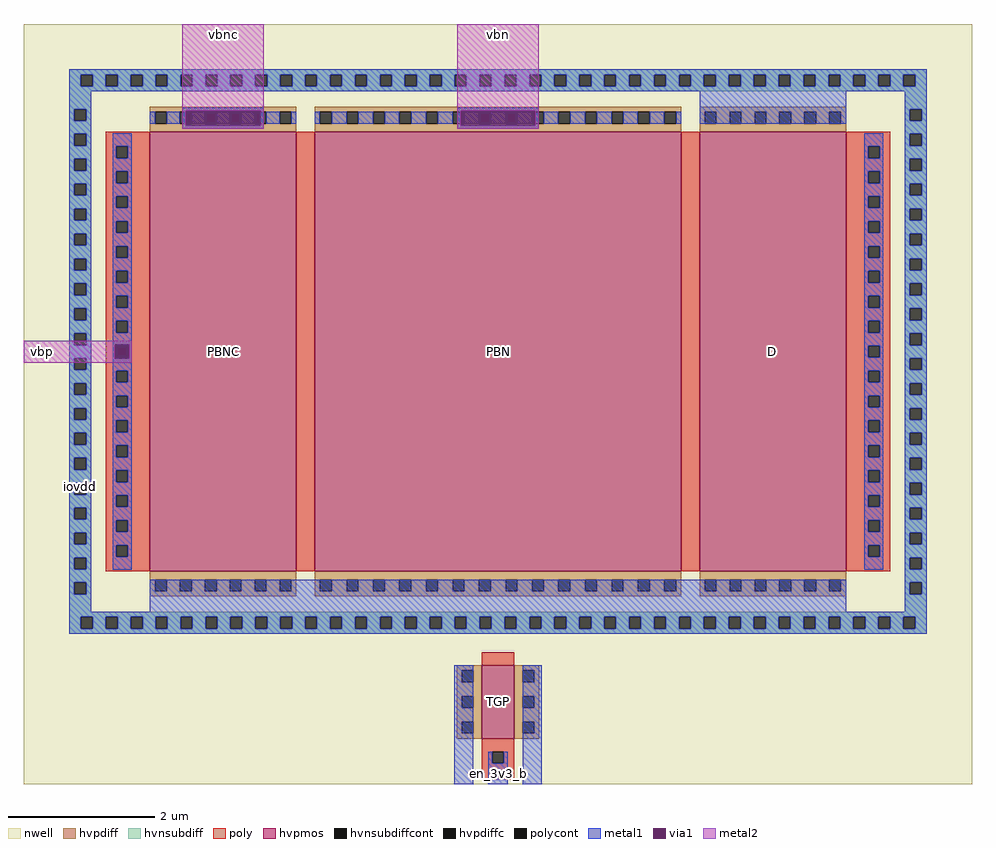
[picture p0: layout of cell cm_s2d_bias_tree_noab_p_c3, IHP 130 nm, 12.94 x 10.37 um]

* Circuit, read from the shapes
.subckt cm_s2d_bias_tree_noab_p_c3 iovdd en_3v3_b iref ni vbnc vbn vbp
XM1 vbnc vbp iovdd iovdd sg13_hv_pmos w=2u l=6u
XM2 vbn vbp iovdd iovdd sg13_hv_pmos w=5u l=6u
XM3 ni en_3v3_b iref iovdd sg13_hv_pmos w=1u l=0.45u
XM4 iovdd vbp iovdd iovdd sg13_hv_pmos w=2u l=6u
.ends

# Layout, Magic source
magic
tech ihp-sg13cmos5l
magscale 1 2
<< nwell >>
rect 0 0 2588 2074
<< hvnsubdiff >>
rect 124 1936 2464 1950
rect 124 1904 156 1936
rect 188 1904 224 1936
rect 256 1904 292 1936
rect 324 1904 360 1936
rect 392 1904 428 1936
rect 460 1904 496 1936
rect 528 1904 564 1936
rect 596 1904 632 1936
rect 664 1904 700 1936
rect 732 1904 768 1936
rect 800 1904 836 1936
rect 868 1904 904 1936
rect 936 1904 972 1936
rect 1004 1904 1040 1936
rect 1072 1904 1108 1936
rect 1140 1904 1176 1936
rect 1208 1904 1244 1936
rect 1276 1904 1312 1936
rect 1344 1904 1380 1936
rect 1412 1904 1448 1936
rect 1480 1904 1516 1936
rect 1548 1904 1584 1936
rect 1616 1904 1652 1936
rect 1684 1904 1720 1936
rect 1752 1904 1788 1936
rect 1820 1904 1856 1936
rect 1888 1904 1924 1936
rect 1956 1904 1992 1936
rect 2024 1904 2060 1936
rect 2092 1904 2128 1936
rect 2160 1904 2196 1936
rect 2228 1904 2264 1936
rect 2296 1904 2332 1936
rect 2364 1904 2400 1936
rect 2432 1904 2464 1936
rect 124 1890 2464 1904
rect 124 1842 184 1890
rect 124 1810 138 1842
rect 170 1810 184 1842
rect 124 1774 184 1810
rect 2404 1842 2464 1890
rect 2404 1810 2418 1842
rect 2450 1810 2464 1842
rect 124 1742 138 1774
rect 170 1742 184 1774
rect 124 1706 184 1742
rect 124 1674 138 1706
rect 170 1674 184 1706
rect 124 1638 184 1674
rect 124 1606 138 1638
rect 170 1606 184 1638
rect 124 1570 184 1606
rect 124 1538 138 1570
rect 170 1538 184 1570
rect 124 1502 184 1538
rect 124 1470 138 1502
rect 170 1470 184 1502
rect 124 1434 184 1470
rect 124 1402 138 1434
rect 170 1402 184 1434
rect 124 1366 184 1402
rect 124 1334 138 1366
rect 170 1334 184 1366
rect 124 1298 184 1334
rect 124 1266 138 1298
rect 170 1266 184 1298
rect 124 1230 184 1266
rect 124 1198 138 1230
rect 170 1198 184 1230
rect 124 1162 184 1198
rect 124 1130 138 1162
rect 170 1130 184 1162
rect 124 1094 184 1130
rect 124 1062 138 1094
rect 170 1062 184 1094
rect 124 1026 184 1062
rect 124 994 138 1026
rect 170 994 184 1026
rect 124 958 184 994
rect 124 926 138 958
rect 170 926 184 958
rect 124 890 184 926
rect 124 858 138 890
rect 170 858 184 890
rect 124 822 184 858
rect 124 790 138 822
rect 170 790 184 822
rect 124 754 184 790
rect 124 722 138 754
rect 170 722 184 754
rect 124 686 184 722
rect 124 654 138 686
rect 170 654 184 686
rect 124 618 184 654
rect 124 586 138 618
rect 170 586 184 618
rect 124 550 184 586
rect 2404 1774 2464 1810
rect 2404 1742 2418 1774
rect 2450 1742 2464 1774
rect 2404 1706 2464 1742
rect 2404 1674 2418 1706
rect 2450 1674 2464 1706
rect 2404 1638 2464 1674
rect 2404 1606 2418 1638
rect 2450 1606 2464 1638
rect 2404 1570 2464 1606
rect 2404 1538 2418 1570
rect 2450 1538 2464 1570
rect 2404 1502 2464 1538
rect 2404 1470 2418 1502
rect 2450 1470 2464 1502
rect 2404 1434 2464 1470
rect 2404 1402 2418 1434
rect 2450 1402 2464 1434
rect 2404 1366 2464 1402
rect 2404 1334 2418 1366
rect 2450 1334 2464 1366
rect 2404 1298 2464 1334
rect 2404 1266 2418 1298
rect 2450 1266 2464 1298
rect 2404 1230 2464 1266
rect 2404 1198 2418 1230
rect 2450 1198 2464 1230
rect 2404 1162 2464 1198
rect 2404 1130 2418 1162
rect 2450 1130 2464 1162
rect 2404 1094 2464 1130
rect 2404 1062 2418 1094
rect 2450 1062 2464 1094
rect 2404 1026 2464 1062
rect 2404 994 2418 1026
rect 2450 994 2464 1026
rect 2404 958 2464 994
rect 2404 926 2418 958
rect 2450 926 2464 958
rect 2404 890 2464 926
rect 2404 858 2418 890
rect 2450 858 2464 890
rect 2404 822 2464 858
rect 2404 790 2418 822
rect 2450 790 2464 822
rect 2404 754 2464 790
rect 2404 722 2418 754
rect 2450 722 2464 754
rect 2404 686 2464 722
rect 2404 654 2418 686
rect 2450 654 2464 686
rect 2404 618 2464 654
rect 2404 586 2418 618
rect 2450 586 2464 618
rect 124 518 138 550
rect 170 518 184 550
rect 124 470 184 518
rect 2404 550 2464 586
rect 2404 518 2418 550
rect 2450 518 2464 550
rect 2404 470 2464 518
rect 124 456 2464 470
rect 124 424 156 456
rect 188 424 224 456
rect 256 424 292 456
rect 324 424 360 456
rect 392 424 428 456
rect 460 424 496 456
rect 528 424 564 456
rect 596 424 632 456
rect 664 424 700 456
rect 732 424 768 456
rect 800 424 836 456
rect 868 424 904 456
rect 936 424 972 456
rect 1004 424 1040 456
rect 1072 424 1108 456
rect 1140 424 1176 456
rect 1208 424 1244 456
rect 1276 424 1312 456
rect 1344 424 1380 456
rect 1412 424 1448 456
rect 1480 424 1516 456
rect 1548 424 1584 456
rect 1616 424 1652 456
rect 1684 424 1720 456
rect 1752 424 1788 456
rect 1820 424 1856 456
rect 1888 424 1924 456
rect 1956 424 1992 456
rect 2024 424 2060 456
rect 2092 424 2128 456
rect 2160 424 2196 456
rect 2228 424 2264 456
rect 2296 424 2332 456
rect 2364 424 2400 456
rect 2432 424 2464 456
rect 124 410 2464 424
<< hvnsubdiffcont >>
rect 156 1904 188 1936
rect 224 1904 256 1936
rect 292 1904 324 1936
rect 360 1904 392 1936
rect 428 1904 460 1936
rect 496 1904 528 1936
rect 564 1904 596 1936
rect 632 1904 664 1936
rect 700 1904 732 1936
rect 768 1904 800 1936
rect 836 1904 868 1936
rect 904 1904 936 1936
rect 972 1904 1004 1936
rect 1040 1904 1072 1936
rect 1108 1904 1140 1936
rect 1176 1904 1208 1936
rect 1244 1904 1276 1936
rect 1312 1904 1344 1936
rect 1380 1904 1412 1936
rect 1448 1904 1480 1936
rect 1516 1904 1548 1936
rect 1584 1904 1616 1936
rect 1652 1904 1684 1936
rect 1720 1904 1752 1936
rect 1788 1904 1820 1936
rect 1856 1904 1888 1936
rect 1924 1904 1956 1936
rect 1992 1904 2024 1936
rect 2060 1904 2092 1936
rect 2128 1904 2160 1936
rect 2196 1904 2228 1936
rect 2264 1904 2296 1936
rect 2332 1904 2364 1936
rect 2400 1904 2432 1936
rect 138 1810 170 1842
rect 2418 1810 2450 1842
rect 138 1742 170 1774
rect 138 1674 170 1706
rect 138 1606 170 1638
rect 138 1538 170 1570
rect 138 1470 170 1502
rect 138 1402 170 1434
rect 138 1334 170 1366
rect 138 1266 170 1298
rect 138 1198 170 1230
rect 138 1130 170 1162
rect 138 1062 170 1094
rect 138 994 170 1026
rect 138 926 170 958
rect 138 858 170 890
rect 138 790 170 822
rect 138 722 170 754
rect 138 654 170 686
rect 138 586 170 618
rect 2418 1742 2450 1774
rect 2418 1674 2450 1706
rect 2418 1606 2450 1638
rect 2418 1538 2450 1570
rect 2418 1470 2450 1502
rect 2418 1402 2450 1434
rect 2418 1334 2450 1366
rect 2418 1266 2450 1298
rect 2418 1198 2450 1230
rect 2418 1130 2450 1162
rect 2418 1062 2450 1094
rect 2418 994 2450 1026
rect 2418 926 2450 958
rect 2418 858 2450 890
rect 2418 790 2450 822
rect 2418 722 2450 754
rect 2418 654 2450 686
rect 2418 586 2450 618
rect 138 518 170 550
rect 2418 518 2450 550
rect 156 424 188 456
rect 224 424 256 456
rect 292 424 324 456
rect 360 424 392 456
rect 428 424 460 456
rect 496 424 528 456
rect 564 424 596 456
rect 632 424 664 456
rect 700 424 732 456
rect 768 424 800 456
rect 836 424 868 456
rect 904 424 936 456
rect 972 424 1004 456
rect 1040 424 1072 456
rect 1108 424 1140 456
rect 1176 424 1208 456
rect 1244 424 1276 456
rect 1312 424 1344 456
rect 1380 424 1412 456
rect 1448 424 1480 456
rect 1516 424 1548 456
rect 1584 424 1616 456
rect 1652 424 1684 456
rect 1720 424 1752 456
rect 1788 424 1820 456
rect 1856 424 1888 456
rect 1924 424 1956 456
rect 1992 424 2024 456
rect 2060 424 2092 456
rect 2128 424 2160 456
rect 2196 424 2228 456
rect 2264 424 2296 456
rect 2332 424 2364 456
rect 2400 424 2432 456
<< poly >>
rect 224 1740 344 1780
rect 224 1708 252 1740
rect 284 1708 344 1740
rect 224 1672 344 1708
rect 224 1640 252 1672
rect 284 1640 344 1672
rect 224 1604 344 1640
rect 224 1572 252 1604
rect 284 1572 344 1604
rect 224 1536 344 1572
rect 224 1504 252 1536
rect 284 1504 344 1536
rect 224 1468 344 1504
rect 224 1436 252 1468
rect 284 1436 344 1468
rect 224 1400 344 1436
rect 224 1368 252 1400
rect 284 1368 344 1400
rect 224 1332 344 1368
rect 224 1300 252 1332
rect 284 1300 344 1332
rect 224 1264 344 1300
rect 224 1232 252 1264
rect 284 1232 344 1264
rect 224 1196 344 1232
rect 224 1164 252 1196
rect 284 1164 344 1196
rect 224 1128 344 1164
rect 224 1096 252 1128
rect 284 1096 344 1128
rect 224 1060 344 1096
rect 224 1028 252 1060
rect 284 1028 344 1060
rect 224 992 344 1028
rect 224 960 252 992
rect 284 960 344 992
rect 224 924 344 960
rect 224 892 252 924
rect 284 892 344 924
rect 224 856 344 892
rect 224 824 252 856
rect 284 824 344 856
rect 224 788 344 824
rect 224 756 252 788
rect 284 756 344 788
rect 224 720 344 756
rect 224 688 252 720
rect 284 688 344 720
rect 224 652 344 688
rect 224 620 252 652
rect 284 620 344 652
rect 224 580 344 620
rect 2244 1740 2364 1780
rect 2244 1708 2304 1740
rect 2336 1708 2364 1740
rect 2244 1672 2364 1708
rect 2244 1640 2304 1672
rect 2336 1640 2364 1672
rect 2244 1604 2364 1640
rect 2244 1572 2304 1604
rect 2336 1572 2364 1604
rect 2244 1536 2364 1572
rect 2244 1504 2304 1536
rect 2336 1504 2364 1536
rect 2244 1468 2364 1504
rect 2244 1436 2304 1468
rect 2336 1436 2364 1468
rect 2244 1400 2364 1436
rect 2244 1368 2304 1400
rect 2336 1368 2364 1400
rect 2244 1332 2364 1368
rect 2244 1300 2304 1332
rect 2336 1300 2364 1332
rect 2244 1264 2364 1300
rect 2244 1232 2304 1264
rect 2336 1232 2364 1264
rect 2244 1196 2364 1232
rect 2244 1164 2304 1196
rect 2336 1164 2364 1196
rect 2244 1128 2364 1164
rect 2244 1096 2304 1128
rect 2336 1096 2364 1128
rect 2244 1060 2364 1096
rect 2244 1028 2304 1060
rect 2336 1028 2364 1060
rect 2244 992 2364 1028
rect 2244 960 2304 992
rect 2336 960 2364 992
rect 2244 924 2364 960
rect 2244 892 2304 924
rect 2336 892 2364 924
rect 2244 856 2364 892
rect 2244 824 2304 856
rect 2336 824 2364 856
rect 2244 788 2364 824
rect 2244 756 2304 788
rect 2336 756 2364 788
rect 2244 720 2364 756
rect 2244 688 2304 720
rect 2336 688 2364 720
rect 2244 652 2364 688
rect 2244 620 2304 652
rect 2336 620 2364 652
rect 2244 580 2364 620
rect 1249 88 1339 124
rect 1249 56 1278 88
rect 1310 56 1339 88
rect 1249 12 1339 56
<< polycont >>
rect 252 1708 284 1740
rect 252 1640 284 1672
rect 252 1572 284 1604
rect 252 1504 284 1536
rect 252 1436 284 1468
rect 252 1368 284 1400
rect 252 1300 284 1332
rect 252 1232 284 1264
rect 252 1164 284 1196
rect 252 1096 284 1128
rect 252 1028 284 1060
rect 252 960 284 992
rect 252 892 284 924
rect 252 824 284 856
rect 252 756 284 788
rect 252 688 284 720
rect 252 620 284 652
rect 2304 1708 2336 1740
rect 2304 1640 2336 1672
rect 2304 1572 2336 1604
rect 2304 1504 2336 1536
rect 2304 1436 2336 1468
rect 2304 1368 2336 1400
rect 2304 1300 2336 1332
rect 2304 1232 2336 1264
rect 2304 1164 2336 1196
rect 2304 1096 2336 1128
rect 2304 1028 2336 1060
rect 2304 960 2336 992
rect 2304 892 2336 924
rect 2304 824 2336 856
rect 2304 756 2336 788
rect 2304 688 2336 720
rect 2304 620 2336 652
rect 1278 56 1310 88
<< metal1 >>
rect 124 1936 2464 1950
rect 124 1904 156 1936
rect 188 1904 224 1936
rect 256 1904 292 1936
rect 324 1904 360 1936
rect 392 1904 428 1936
rect 460 1904 496 1936
rect 528 1904 564 1936
rect 596 1904 632 1936
rect 664 1904 700 1936
rect 732 1904 768 1936
rect 800 1904 836 1936
rect 868 1904 904 1936
rect 936 1904 972 1936
rect 1004 1904 1040 1936
rect 1072 1904 1108 1936
rect 1140 1904 1176 1936
rect 1208 1904 1244 1936
rect 1276 1904 1312 1936
rect 1344 1904 1380 1936
rect 1412 1904 1448 1936
rect 1480 1904 1516 1936
rect 1548 1904 1584 1936
rect 1616 1904 1652 1936
rect 1684 1904 1720 1936
rect 1752 1904 1788 1936
rect 1820 1904 1856 1936
rect 1888 1904 1924 1936
rect 1956 1904 1992 1936
rect 2024 1904 2060 1936
rect 2092 1904 2128 1936
rect 2160 1904 2196 1936
rect 2228 1904 2264 1936
rect 2296 1904 2332 1936
rect 2364 1904 2400 1936
rect 2432 1904 2464 1936
rect 124 1890 2464 1904
rect 124 1842 184 1890
rect 124 1810 138 1842
rect 170 1810 184 1842
rect 124 1774 184 1810
rect 433 1837 655 1846
rect 433 1797 442 1837
rect 646 1797 655 1837
rect 433 1788 655 1797
rect 1183 1837 1405 1846
rect 1183 1797 1192 1837
rect 1396 1797 1405 1837
rect 1844 1802 2244 1890
rect 2404 1842 2464 1890
rect 2404 1810 2418 1842
rect 2450 1810 2464 1842
rect 1183 1788 1405 1797
rect 124 1742 138 1774
rect 170 1742 184 1774
rect 124 1706 184 1742
rect 124 1674 138 1706
rect 170 1674 184 1706
rect 124 1638 184 1674
rect 124 1606 138 1638
rect 170 1606 184 1638
rect 124 1570 184 1606
rect 124 1538 138 1570
rect 170 1538 184 1570
rect 124 1502 184 1538
rect 124 1470 138 1502
rect 170 1470 184 1502
rect 124 1434 184 1470
rect 124 1402 138 1434
rect 170 1402 184 1434
rect 124 1366 184 1402
rect 124 1334 138 1366
rect 170 1334 184 1366
rect 124 1298 184 1334
rect 124 1266 138 1298
rect 170 1266 184 1298
rect 124 1230 184 1266
rect 124 1198 138 1230
rect 170 1198 184 1230
rect 124 1162 184 1198
rect 124 1130 138 1162
rect 170 1130 184 1162
rect 124 1094 184 1130
rect 124 1062 138 1094
rect 170 1062 184 1094
rect 124 1026 184 1062
rect 124 994 138 1026
rect 170 994 184 1026
rect 124 958 184 994
rect 124 926 138 958
rect 170 926 184 958
rect 124 890 184 926
rect 124 858 138 890
rect 170 858 184 890
rect 124 822 184 858
rect 124 790 138 822
rect 170 790 184 822
rect 124 754 184 790
rect 124 722 138 754
rect 170 722 184 754
rect 124 686 184 722
rect 124 654 138 686
rect 170 654 184 686
rect 124 618 184 654
rect 124 586 138 618
rect 170 586 184 618
rect 124 550 184 586
rect 242 1740 294 1776
rect 242 1708 252 1740
rect 284 1708 294 1740
rect 242 1672 294 1708
rect 242 1640 252 1672
rect 284 1640 294 1672
rect 242 1604 294 1640
rect 242 1572 252 1604
rect 284 1572 294 1604
rect 242 1536 294 1572
rect 242 1504 252 1536
rect 284 1504 294 1536
rect 242 1468 294 1504
rect 242 1436 252 1468
rect 284 1436 294 1468
rect 242 1400 294 1436
rect 242 1368 252 1400
rect 284 1368 294 1400
rect 242 1332 294 1368
rect 242 1300 252 1332
rect 284 1300 294 1332
rect 242 1264 294 1300
rect 242 1232 252 1264
rect 284 1232 294 1264
rect 242 1200 294 1232
rect 242 1160 248 1200
rect 288 1160 294 1200
rect 242 1128 294 1160
rect 242 1096 252 1128
rect 284 1096 294 1128
rect 242 1060 294 1096
rect 242 1028 252 1060
rect 284 1028 294 1060
rect 242 992 294 1028
rect 242 960 252 992
rect 284 960 294 992
rect 242 924 294 960
rect 242 892 252 924
rect 284 892 294 924
rect 242 856 294 892
rect 242 824 252 856
rect 284 824 294 856
rect 242 788 294 824
rect 242 756 252 788
rect 284 756 294 788
rect 242 720 294 756
rect 242 688 252 720
rect 284 688 294 720
rect 242 652 294 688
rect 242 620 252 652
rect 284 620 294 652
rect 242 584 294 620
rect 2294 1740 2346 1776
rect 2294 1708 2304 1740
rect 2336 1708 2346 1740
rect 2294 1672 2346 1708
rect 2294 1640 2304 1672
rect 2336 1640 2346 1672
rect 2294 1604 2346 1640
rect 2294 1572 2304 1604
rect 2336 1572 2346 1604
rect 2294 1536 2346 1572
rect 2294 1504 2304 1536
rect 2336 1504 2346 1536
rect 2294 1468 2346 1504
rect 2294 1436 2304 1468
rect 2336 1436 2346 1468
rect 2294 1400 2346 1436
rect 2294 1368 2304 1400
rect 2336 1368 2346 1400
rect 2294 1332 2346 1368
rect 2294 1300 2304 1332
rect 2336 1300 2346 1332
rect 2294 1264 2346 1300
rect 2294 1232 2304 1264
rect 2336 1232 2346 1264
rect 2294 1196 2346 1232
rect 2294 1164 2304 1196
rect 2336 1164 2346 1196
rect 2294 1128 2346 1164
rect 2294 1096 2304 1128
rect 2336 1096 2346 1128
rect 2294 1060 2346 1096
rect 2294 1028 2304 1060
rect 2336 1028 2346 1060
rect 2294 992 2346 1028
rect 2294 960 2304 992
rect 2336 960 2346 992
rect 2294 924 2346 960
rect 2294 892 2304 924
rect 2336 892 2346 924
rect 2294 856 2346 892
rect 2294 824 2304 856
rect 2336 824 2346 856
rect 2294 788 2346 824
rect 2294 756 2304 788
rect 2336 756 2346 788
rect 2294 720 2346 756
rect 2294 688 2304 720
rect 2336 688 2346 720
rect 2294 652 2346 688
rect 2294 620 2304 652
rect 2336 620 2346 652
rect 2294 584 2346 620
rect 2404 1774 2464 1810
rect 2404 1742 2418 1774
rect 2450 1742 2464 1774
rect 2404 1706 2464 1742
rect 2404 1674 2418 1706
rect 2450 1674 2464 1706
rect 2404 1638 2464 1674
rect 2404 1606 2418 1638
rect 2450 1606 2464 1638
rect 2404 1570 2464 1606
rect 2404 1538 2418 1570
rect 2450 1538 2464 1570
rect 2404 1502 2464 1538
rect 2404 1470 2418 1502
rect 2450 1470 2464 1502
rect 2404 1434 2464 1470
rect 2404 1402 2418 1434
rect 2450 1402 2464 1434
rect 2404 1366 2464 1402
rect 2404 1334 2418 1366
rect 2450 1334 2464 1366
rect 2404 1298 2464 1334
rect 2404 1266 2418 1298
rect 2450 1266 2464 1298
rect 2404 1230 2464 1266
rect 2404 1198 2418 1230
rect 2450 1198 2464 1230
rect 2404 1162 2464 1198
rect 2404 1130 2418 1162
rect 2450 1130 2464 1162
rect 2404 1094 2464 1130
rect 2404 1062 2418 1094
rect 2450 1062 2464 1094
rect 2404 1026 2464 1062
rect 2404 994 2418 1026
rect 2450 994 2464 1026
rect 2404 958 2464 994
rect 2404 926 2418 958
rect 2450 926 2464 958
rect 2404 890 2464 926
rect 2404 858 2418 890
rect 2450 858 2464 890
rect 2404 822 2464 858
rect 2404 790 2418 822
rect 2450 790 2464 822
rect 2404 754 2464 790
rect 2404 722 2418 754
rect 2450 722 2464 754
rect 2404 686 2464 722
rect 2404 654 2418 686
rect 2450 654 2464 686
rect 2404 618 2464 654
rect 2404 586 2418 618
rect 2450 586 2464 618
rect 124 518 138 550
rect 170 518 184 550
rect 124 470 184 518
rect 344 470 2244 558
rect 2404 550 2464 586
rect 2404 518 2418 550
rect 2450 518 2464 550
rect 2404 470 2464 518
rect 124 456 2464 470
rect 124 424 156 456
rect 188 424 224 456
rect 256 424 292 456
rect 324 424 360 456
rect 392 424 428 456
rect 460 424 496 456
rect 528 424 564 456
rect 596 424 632 456
rect 664 424 700 456
rect 732 424 768 456
rect 800 424 836 456
rect 868 424 904 456
rect 936 424 972 456
rect 1004 424 1040 456
rect 1072 424 1108 456
rect 1140 424 1176 456
rect 1208 424 1244 456
rect 1276 424 1312 456
rect 1344 424 1380 456
rect 1412 424 1448 456
rect 1480 424 1516 456
rect 1548 424 1584 456
rect 1616 424 1652 456
rect 1684 424 1720 456
rect 1752 424 1788 456
rect 1820 424 1856 456
rect 1888 424 1924 456
rect 1956 424 1992 456
rect 2024 424 2060 456
rect 2092 424 2128 456
rect 2160 424 2196 456
rect 2228 424 2264 456
rect 2296 424 2332 456
rect 2364 424 2400 456
rect 2432 424 2464 456
rect 124 410 2464 424
rect 1175 0 1227 324
rect 1268 56 1278 88
rect 1310 56 1320 88
rect 1268 0 1320 56
rect 1361 0 1413 324
<< via1 >>
rect 442 1797 646 1837
rect 1192 1797 1396 1837
rect 248 1196 288 1200
rect 248 1164 252 1196
rect 252 1164 284 1196
rect 284 1164 288 1196
rect 248 1160 288 1164
<< metal2 >>
rect 433 1837 655 2074
rect 433 1797 442 1837
rect 646 1797 655 1837
rect 433 1788 655 1797
rect 1183 1837 1405 2074
rect 1183 1797 1192 1837
rect 1396 1797 1405 1837
rect 1183 1788 1405 1797
rect 0 1200 294 1210
rect 0 1160 248 1200
rect 288 1160 294 1200
rect 0 1150 294 1160
use cm_s2d_pmosHV_w1_l0p45  cm_s2d_pmosHV_w1_l0p45_0
transform 1 0 1181 0 -1 324
box -124 -124 350 324
use cm_s2d_pmosHV_w2_l6  cm_s2d_pmosHV_w2_l6_0
transform 0 1 1844 1 0 512
box -124 -124 1460 524
use cm_s2d_pmosHV_w2_l6  cm_s2d_pmosHV_w2_l6_1
transform 0 -1 744 1 0 512
box -124 -124 1460 524
use cm_s2d_pmosHV_w5_l6  cm_s2d_pmosHV_w5_l6_0
transform 0 -1 1794 1 0 512
box -124 -124 1460 1124
<< labels >>
rlabel comment s 544 1180 544 1180 4 PBNC
rlabel comment s 1294 1180 1294 1180 4 PBN
rlabel comment s 2044 1180 2044 1180 4 D
rlabel comment s 1294 224 1294 224 4 TGP
rlabel metal1 s 124 612 184 1012 4 iovdd
port 2 nsew
rlabel metal1 s 1268 0 1320 60 4 en_3v3_b
port 3 nsew
rlabel metal1 s 1175 0 1227 60 4 iref
port 4 nsew
rlabel metal1 s 1361 0 1413 60 4 ni
port 5 nsew
rlabel metal2 s 433 2014 655 2074 4 vbnc
port 7 nsew
rlabel metal2 s 1183 2014 1405 2074 4 vbn
port 8 nsew
rlabel metal2 s 0 1150 100 1210 4 vbp
port 9 nsew
<< properties >>
string GDS_END 363176
string GDS_FILE custom_io/gds/sg13cmos5l_IOPadSingle2Diff.uniq.gds
string GDS_START 350844
<< end >>

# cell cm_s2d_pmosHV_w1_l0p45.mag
magic
tech ihp-sg13cmos5l
magscale 1 2
<< nwell >>
rect -124 -124 350 324
<< hvpmos >>
rect 68 0 158 200
<< hvpdiff >>
rect 0 186 68 200
rect 0 154 14 186
rect 46 154 68 186
rect 0 116 68 154
rect 0 84 14 116
rect 46 84 68 116
rect 0 46 68 84
rect 0 14 14 46
rect 46 14 68 46
rect 0 0 68 14
rect 158 186 226 200
rect 158 154 180 186
rect 212 154 226 186
rect 158 116 226 154
rect 158 84 180 116
rect 212 84 226 116
rect 158 46 226 84
rect 158 14 180 46
rect 212 14 226 46
rect 158 0 226 14
<< hvpdiffc >>
rect 14 154 46 186
rect 14 84 46 116
rect 14 14 46 46
rect 180 154 212 186
rect 180 84 212 116
rect 180 14 212 46
<< poly >>
rect 68 200 158 236
rect 68 -36 158 0
<< metal1 >>
rect 14 186 46 200
rect 14 116 46 154
rect 14 46 46 84
rect 14 0 46 14
rect 180 186 212 200
rect 180 116 212 154
rect 180 46 212 84
rect 180 0 212 14
<< labels >>
flabel comment s 113 100 113 100 0 FreeSans 200 90 0 0 pmosHV
<< properties >>
string GDS_END 34114
string GDS_FILE custom_io/gds/sg13cmos5l_IOPadSingle2Diff.uniq.gds
string GDS_START 32752
<< end >>

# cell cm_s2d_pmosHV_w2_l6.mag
magic
tech ihp-sg13cmos5l
<< nwell >>
rect -62 -62 730 262
<< hvpmos >>
rect 34 0 634 200
<< hvpdiff >>
rect 0 193 34 200
rect 0 177 7 193
rect 23 177 34 193
rect 0 159 34 177
rect 0 143 7 159
rect 23 143 34 159
rect 0 125 34 143
rect 0 109 7 125
rect 23 109 34 125
rect 0 91 34 109
rect 0 75 7 91
rect 23 75 34 91
rect 0 57 34 75
rect 0 41 7 57
rect 23 41 34 57
rect 0 23 34 41
rect 0 7 7 23
rect 23 7 34 23
rect 0 0 34 7
rect 634 193 668 200
rect 634 177 645 193
rect 661 177 668 193
rect 634 159 668 177
rect 634 143 645 159
rect 661 143 668 159
rect 634 125 668 143
rect 634 109 645 125
rect 661 109 668 125
rect 634 91 668 109
rect 634 75 645 91
rect 661 75 668 91
rect 634 57 668 75
rect 634 41 645 57
rect 661 41 668 57
rect 634 23 668 41
rect 634 7 645 23
rect 661 7 668 23
rect 634 0 668 7
<< hvpdiffc >>
rect 7 177 23 193
rect 7 143 23 159
rect 7 109 23 125
rect 7 75 23 91
rect 7 41 23 57
rect 7 7 23 23
rect 645 177 661 193
rect 645 143 661 159
rect 645 109 661 125
rect 645 75 661 91
rect 645 41 661 57
rect 645 7 661 23
<< poly >>
rect 34 200 634 218
rect 34 -18 634 0
<< metal1 >>
rect 7 193 23 200
rect 7 159 23 177
rect 7 125 23 143
rect 7 91 23 109
rect 7 57 23 75
rect 7 23 23 41
rect 7 0 23 7
rect 645 193 661 200
rect 645 159 661 177
rect 645 125 661 143
rect 645 91 661 109
rect 645 57 661 75
rect 645 23 661 41
rect 645 0 661 7
<< labels >>
flabel comment s 334 100 334 100 0 FreeSans 100 90 0 0 pmosHV
<< properties >>
string GDS_END 35912
string GDS_FILE custom_io/gds/sg13cmos5l_IOPadSingle2Diff.uniq.gds
string GDS_START 34166
<< end >>

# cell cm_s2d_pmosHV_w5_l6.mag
magic
tech ihp-sg13cmos5l
magscale 1 2
<< nwell >>
rect -124 -124 1460 1124
<< hvpmos >>
rect 68 0 1268 1000
<< hvpdiff >>
rect 0 986 68 1000
rect 0 954 14 986
rect 46 954 68 986
rect 0 913 68 954
rect 0 881 14 913
rect 46 881 68 913
rect 0 841 68 881
rect 0 809 14 841
rect 46 809 68 841
rect 0 769 68 809
rect 0 737 14 769
rect 46 737 68 769
rect 0 696 68 737
rect 0 664 14 696
rect 46 664 68 696
rect 0 624 68 664
rect 0 592 14 624
rect 46 592 68 624
rect 0 552 68 592
rect 0 520 14 552
rect 46 520 68 552
rect 0 479 68 520
rect 0 447 14 479
rect 46 447 68 479
rect 0 407 68 447
rect 0 375 14 407
rect 46 375 68 407
rect 0 335 68 375
rect 0 303 14 335
rect 46 303 68 335
rect 0 262 68 303
rect 0 230 14 262
rect 46 230 68 262
rect 0 190 68 230
rect 0 158 14 190
rect 46 158 68 190
rect 0 118 68 158
rect 0 86 14 118
rect 46 86 68 118
rect 0 46 68 86
rect 0 14 14 46
rect 46 14 68 46
rect 0 0 68 14
rect 1268 986 1336 1000
rect 1268 954 1290 986
rect 1322 954 1336 986
rect 1268 913 1336 954
rect 1268 881 1290 913
rect 1322 881 1336 913
rect 1268 841 1336 881
rect 1268 809 1290 841
rect 1322 809 1336 841
rect 1268 769 1336 809
rect 1268 737 1290 769
rect 1322 737 1336 769
rect 1268 696 1336 737
rect 1268 664 1290 696
rect 1322 664 1336 696
rect 1268 624 1336 664
rect 1268 592 1290 624
rect 1322 592 1336 624
rect 1268 552 1336 592
rect 1268 520 1290 552
rect 1322 520 1336 552
rect 1268 479 1336 520
rect 1268 447 1290 479
rect 1322 447 1336 479
rect 1268 407 1336 447
rect 1268 375 1290 407
rect 1322 375 1336 407
rect 1268 335 1336 375
rect 1268 303 1290 335
rect 1322 303 1336 335
rect 1268 262 1336 303
rect 1268 230 1290 262
rect 1322 230 1336 262
rect 1268 190 1336 230
rect 1268 158 1290 190
rect 1322 158 1336 190
rect 1268 118 1336 158
rect 1268 86 1290 118
rect 1322 86 1336 118
rect 1268 46 1336 86
rect 1268 14 1290 46
rect 1322 14 1336 46
rect 1268 0 1336 14
<< hvpdiffc >>
rect 14 954 46 986
rect 14 881 46 913
rect 14 809 46 841
rect 14 737 46 769
rect 14 664 46 696
rect 14 592 46 624
rect 14 520 46 552
rect 14 447 46 479
rect 14 375 46 407
rect 14 303 46 335
rect 14 230 46 262
rect 14 158 46 190
rect 14 86 46 118
rect 14 14 46 46
rect 1290 954 1322 986
rect 1290 881 1322 913
rect 1290 809 1322 841
rect 1290 737 1322 769
rect 1290 664 1322 696
rect 1290 592 1322 624
rect 1290 520 1322 552
rect 1290 447 1322 479
rect 1290 375 1322 407
rect 1290 303 1322 335
rect 1290 230 1322 262
rect 1290 158 1322 190
rect 1290 86 1322 118
rect 1290 14 1322 46
<< poly >>
rect 68 1000 1268 1036
rect 68 -36 1268 0
<< metal1 >>
rect 14 986 46 1000
rect 14 913 46 954
rect 14 841 46 881
rect 14 769 46 809
rect 14 696 46 737
rect 14 624 46 664
rect 14 552 46 592
rect 14 479 46 520
rect 14 407 46 447
rect 14 335 46 375
rect 14 262 46 303
rect 14 190 46 230
rect 14 118 46 158
rect 14 46 46 86
rect 14 0 46 14
rect 1290 986 1322 1000
rect 1290 913 1322 954
rect 1290 841 1322 881
rect 1290 769 1322 809
rect 1290 696 1322 737
rect 1290 624 1322 664
rect 1290 552 1322 592
rect 1290 479 1322 520
rect 1290 407 1322 447
rect 1290 335 1322 375
rect 1290 262 1322 303
rect 1290 190 1322 230
rect 1290 118 1322 158
rect 1290 46 1322 86
rect 1290 0 1322 14
<< labels >>
flabel comment s 668 500 668 500 0 FreeSans 200 90 0 0 pmosHV
<< properties >>
string GDS_END 50534
string GDS_FILE custom_io/gds/sg13cmos5l_IOPadSingle2Diff.uniq.gds
string GDS_START 47764
<< end >>
